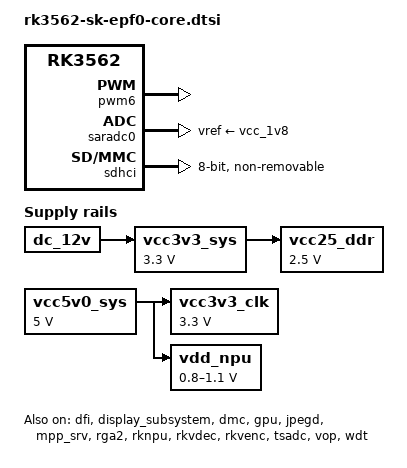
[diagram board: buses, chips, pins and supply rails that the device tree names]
// SPDX-License-Identifier: (GPL-2.0+ OR MIT)
/*
* Copyright (c) 2025 Sergey Kharenko
* Copyright (c) 2021 Rockchip Electronics Co., Ltd.
*/

/dts-v1/;

#include <dt-bindings/display/drm_mipi_dsi.h>
#include <dt-bindings/gpio/gpio.h>
#include <dt-bindings/input/input.h>
#include <dt-bindings/pinctrl/rockchip.h>

/ {
	vcc3v3_clk: vcc3v3-clk {
		compatible = "regulator-fixed";
		regulator-name = "vcc3v3_clk";
		regulator-min-microvolt = <3300000>;
		regulator-max-microvolt = <3300000>;
		vin-supply = <&vcc5v0_sys>;
	};

	vcc3v3_sys: vcc-sys {
		compatible = "regulator-fixed";
		regulator-name = "vcc3v3_sys";
		regulator-always-on;
		regulator-boot-on;
		regulator-min-microvolt = <3300000>;
		regulator-max-microvolt = <3300000>;
		vin-supply = <&dc_12v>;
	};

    vcc5v0_sys: vcc5v0-sys {
		compatible = "regulator-fixed";
		regulator-name = "vcc5v0_sys";
		regulator-always-on;
		regulator-boot-on;
		regulator-min-microvolt = <5000000>;
		regulator-max-microvolt = <5000000>;
	};

	vcc25_ddr: vcc25-ddr {
		compatible = "regulator-fixed";
		regulator-name = "vcc25_ddr";
		regulator-always-on;
		regulator-boot-on;
		regulator-min-microvolt = <2500000>;
		regulator-max-microvolt = <2500000>;
		vin-supply = <&vcc3v3_sys>;
	};

	vdd_npu: vdd-npu {
		compatible = "pwm-regulator";
		pwms = <&pwm6 0 5000 1>;
		regulator-name = "vdd_npu";
		regulator-min-microvolt = <800000>;
		regulator-max-microvolt = <1100000>;
		regulator-init-microvolt = <900000>;
		regulator-always-on;
		regulator-boot-on;
		regulator-settling-time-up-us = <250>;
		pwm-supply = <&vcc5v0_sys>;
		status = "okay";
	};
};

&cpu0 {
	cpu-supply = <&vdd_cpu>;
};

&dfi {
	status = "okay";
};

&display_subsystem {
	status = "okay";
};

&dmc {
	center-supply = <&vdd_logic>;
	status = "okay";
};

&gpu {
    interrupt-names = "gpu", "mmu", "job";
    mali-supply = <&vdd_gpu>;
    mem-supply = <&vdd_gpu>;
	status = "okay";
};

&jpegd {
	status = "okay";
};

&jpegd_mmu {
	status = "okay";
};

&mpp_srv {
	status = "okay";
};

&pwm6 {
	status = "okay";
};

&rga2 {
	status = "okay";
};

&rga2_mmu {
	status = "okay";
};

&rknpu {
	rknpu-supply = <&vdd_npu>;
	status = "okay";
};

&rknpu_mmu {
	status = "okay";
};

&rkvdec {
	status = "okay";
};

&rkvdec_mmu {
	status = "okay";
};

&rkvenc {
	status = "okay";
};

&rkvenc_mmu {
	status = "okay";
};

&saradc0 {
	status = "okay";
	vref-supply = <&vcc_1v8>;
};

&sdhci {
	bus-width = <8>;
	no-sdio;
	no-sd;
	non-removable;
	max-frequency = <200000000>;
	mmc-hs400-1_8v;
	mmc-hs400-enhanced-strobe;
	full-pwr-cycle-in-suspend;
	status = "okay";
};

&tsadc {
	status = "okay";
};

&vop {
	status = "okay";
};

&vop_mmu {
	status = "okay";
};

&wdt {
    status = "okay";
};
